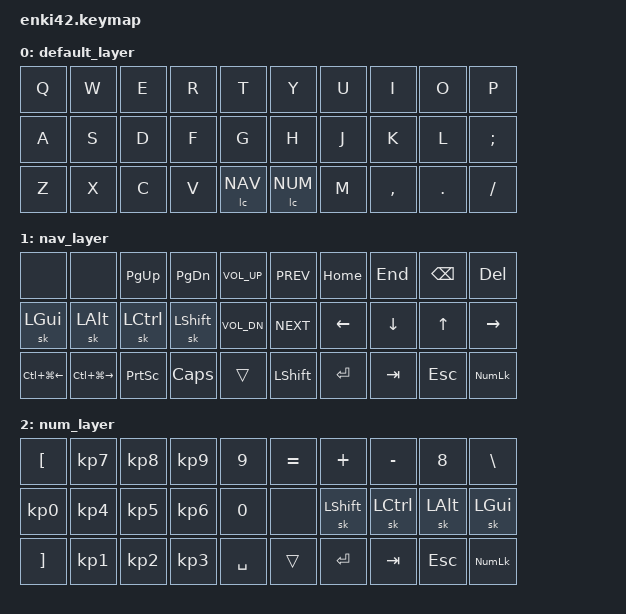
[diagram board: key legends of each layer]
/*
 * Copyright (c) 2020 The ZMK Contributors
 *
 * SPDX-License-Identifier: MIT
 */

#include <behaviors.dtsi>
#include <dt-bindings/zmk/keys.h>
#include <dt-bindings/zmk/bt.h>

#include <dt-bindings/zmk/ext_power.h>

#define _ &kp
#define ___ &none
#define ______ &trans

#define DEF 0
#define NAV 1
#define NUM 2

#define NSPC LC(LG(RIGHT))
#define PSPC LC(LG(LEFT))

&sk {
        release-after-ms = <60000>;
};

/ {
    macros {
        lc: mo_layer_switch_with_an_embeded_cancel_tap_for_clearing_any_queued_sticky_mods_on_press {
            label = "LAYER_CANCEL";
            compatible = "zmk,behavior-macro-one-param";
            wait-ms = <0>;
            tap-ms = <0>;
            #binding-cells = <1>;
            bindings =
                <&macro_tap &kp K_CANCEL &macro_param_1to1>,
                <&macro_press &mo MACRO_PLACEHOLDER>,
                <&macro_pause_for_release>,
                <&macro_param_1to1>,
                <&macro_release>,
                <&mo MACRO_PLACEHOLDER>;
        };
    };

    combos {
        compatible = "zmk,combos";

        combo_r0c0c1 {
            key-positions = <0 1>;
            bindings = <_ N6>;
            layers = <0>;
        };
        combo_r0c1c2 {
            key-positions = <1 2>;
            bindings = <_ UNDER>;
            layers = <0>;
        };
        combo_r0c2c3 {
            key-positions = <2 3>;
            bindings = <_ N9>;
            layers = <0>;
        };

        combo_r1c0c1 {
            key-positions = <10 11>;
            bindings = <_ N1>;
            layers = <0>;
        };
        combo_r1c1c2 {
            key-positions = <11 12>;
            bindings = <_ MINUS>;
            layers = <0>;
        };
        combo_r1c2c3 {
            key-positions = <12 13>;
            bindings = <_ LBKT>;
            layers = <0>;
        };

        combo_r2c0c1 {
            key-positions = <20 21>;
            bindings = <_ N2>;
            layers = <0>;
        };
        combo_r2c1c2 {
            key-positions = <21 22>;
            bindings = <_ N3>;
            layers = <0>;
        };
        combo_r2c2c3 {
            key-positions = <22 23>;
            bindings = <_ LBRC>;
            layers = <0>;
        };

        combo_c1r0r1 {
            key-positions = <1 11>;
            bindings = <_ RA(M)>;
            layers = <0>;
        };
        combo_c2r0r1 {
            key-positions = <2 12>;
            bindings = <_ RA(T)>;
            layers = <0>;
        };
        combo_c3r0r1 {
            key-positions = <3 13>;
            bindings = <_ RA(L)>;
            layers = <0>;
        };
        combo_c4r0r1 {
            key-positions = <4 14>;
            bindings = <_ B>;
            layers = <0>;
        };

        combo_c1r1r2 {
            key-positions = <11 21>;
            bindings = <_ RA(GRAVE)>;
            layers = <0>;
        };
        combo_c2r1r2 {
            key-positions = <12 22>;
            bindings = <_ GRAVE>;
            layers = <0>;
        };
        combo_c3r1r2 {
            key-positions = <13 23>;
            bindings = <_ LS(GRAVE)>;
            layers = <0>;
        };



        combo_r0c6c7 {
            key-positions = <6 7>;
            bindings = <_ N0>;
            layers = <0>;
        };
        combo_r0c7c8 {
            key-positions = <7 8>;
            bindings = <_ PLUS>;
            layers = <0>;
        };
        combo_r0c8c9 {
            key-positions = <8 9>;
            bindings = <_ N4>;
            layers = <0>;
        };

        combo_r1c6c7 {
            key-positions = <16 17>;
            bindings = <_ RBKT>;
            layers = <0>;
        };
        combo_r1c7c8 {
            key-positions = <17 18>;
            bindings = <_ EQUAL>;
            layers = <0>;
        };
        combo_r1c8c9 {
            key-positions = <18 19>;
            bindings = <_ N7>;
            layers = <0>;
        };

        combo_r2c6c7 {
            key-positions = <26 27>;
            bindings = <_ RBRC>;
            layers = <0>;
        };
        combo_r2c7c8 {
            key-positions = <27 28>;
            bindings = <_ N8>;
            layers = <0>;
        };
        combo_r2c8c9 {
            key-positions = <28 29>;
            bindings = <_ N5>;
            layers = <0>;
        };

        combo_c5r0r1 {
            key-positions = <5 15>;
            bindings = <_ N>;
            layers = <0>;
        };
        combo_c6r0r1 {
            key-positions = <6 16>;
            bindings = <_ RA(SEMI)>;
            layers = <0>;
        };
        combo_c7r0r1 {
            key-positions = <7 17>;
            bindings = <_ RA(I)>;
            layers = <0>;
        };
        combo_c8r0r1 {
            key-positions = <8 18>;
            bindings = <_ B>;
            layers = <0>;
        };

        combo_c6r1r2 {
            key-positions = <16 26>;
            bindings = <_ BSLH>;
            layers = <0>;
        };
        combo_c7r1r2 {
            key-positions = <17 27>;
            bindings = <_ LS(BSLH)>;
            layers = <0>;
        };
        combo_c8r1r2 {
            key-positions = <18 28>;
            bindings = <_ RA(BSLH)>;
            layers = <0>;
        };



        combo_navc4r0r1 {
            key-positions = <4 14>;
            bindings = <_ C_MUTE>;
            layers = <1>;
        };
        combo_navc5r0r1 {
            key-positions = <5 15>;
            bindings = <_ C_PLAY_PAUSE>;
            layers = <1>;
        };



        combo_numr0c0c1 {
            key-positions = <0 1>;
            bindings = <_ F7>;
            layers = <2>;
        };
        combo_numr0c1c2 {
            key-positions = <1 2>;
            bindings = <_ F8>;
            layers = <2>;
        };
        combo_numr0c2c3 {
            key-positions = <2 3>;
            bindings = <_ F9>;
            layers = <2>;
        };

        combo_numr1c0c1 {
            key-positions = <10 11>;
            bindings = <_ F4>;
            layers = <2>;
        };
        combo_numr1c1c2 {
            key-positions = <11 12>;
            bindings = <_ F5>;
            layers = <2>;
        };
        combo_numr1c2c3 {
            key-positions = <12 13>;
            bindings = <_ F6>;
            layers = <2>;
        };

        combo_numr2c0c1 {
            key-positions = <20 21>;
            bindings = <_ F1>;
            layers = <2>;
        };
        combo_numr2c1c2 {
            key-positions = <21 22>;
            bindings = <_ F2>;
            layers = <2>;
        };
        combo_numr2c2c3 {
            key-positions = <22 23>;
            bindings = <_ F3>;
            layers = <2>;
        };

        combo_numr0c6c7 {
            key-positions = <6 7>;
            bindings = <_ F10>;
            layers = <2>;
        };
        combo_numr0c7c8 {
            key-positions = <7 8>;
            bindings = <_ F11>;
            layers = <2>;
        };
        combo_numr0c8c9 {
            key-positions = <8 9>;
            bindings = <_ F12>;
            layers = <2>;
        };

        combo_numr2c6c7 {
            key-positions = <26 27>;
            bindings = <_ F13>;
            layers = <2>;
        };
        combo_numr2c7c8 {
            key-positions = <27 28>;
            bindings = <_ F14>;
            layers = <2>;
        };
        combo_numr2c8c9 {
            key-positions = <29 30>;
            bindings = <_ F15>;
            layers = <2>;
        };
    };
};

/ {
    keymap {
        compatible = "zmk,keymap";

        default_layer {
            bindings = <
    _ Q        _ W        _ E        _ R       _ T             _ Y        _ U        _ I        _ O       _ P
    _ A        _ S        _ D        _ F       _ G             _ H        _ J        _ K        _ L       _ SEMI
    _ Z        _ X        _ C        _ V       &lc NAV         &lc NUM    _ M        _ COMMA    _ DOT     _ FSLH
            >;
        };

        nav_layer {
            bindings = <
    ___        ___        _ PG_UP    _ PG_DN   _ C_VOL_UP      _ C_PREV   _ HOME     _ END      _ BSPC    _ DEL
    &sk LGUI   &sk LALT   &sk LCTRL  &sk LSHFT _ C_VOL_DN      _ C_NEXT   _ LEFT     _ DOWN     _ UP      _ RIGHT
    _ PSPC     _ NSPC     _ PSCRN    _ CAPS    ______          _ LSHFT    _ RET      _ TAB      _ ESC     _ KP_NUM
            >;
        };

        num_layer {
            bindings = <
    _ LBKT     _ KP_N7    _ KP_N8    _ KP_N9   _ N9            _ EQUAL    _ PLUS     _ MINUS    _ N8      _ BSLH
    _ KP_N0    _ KP_N4    _ KP_N5    _ KP_N6   _ N0            ___        &sk LSHFT  &sk LCTRL  &sk LALT  &sk LGUI
    _ RBKT     _ KP_N1    _ KP_N2    _ KP_N3   _ SPACE         ______     _ RET      _ TAB      _ ESC     _ KP_NUM
            >;
        };
    };
};
